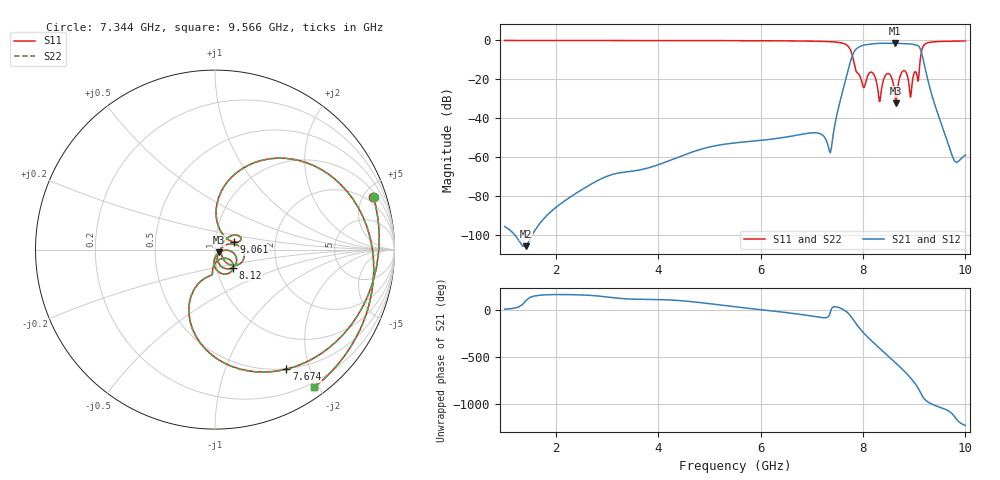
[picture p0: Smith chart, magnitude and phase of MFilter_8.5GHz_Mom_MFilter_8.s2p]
# MHz S MA R 50
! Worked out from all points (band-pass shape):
!   461 points, 1 GHz to 10 GHz, reference 50 ohm
!   highest |S21| = -1.43 dB at 8.617 GHz (marker M1); lowest = -105.8 dB at 1.422 GHz (marker M2)
!   |S21| within 3 dB of the highest: 7.867 GHz to 9.121 GHz (1.254 GHz wide, 14.8 % of centre)
!   lowest |S11| = -32.3 dB at 8.641 GHz (marker M3), VSWR 1.05, Z = 52 - j1.45 ohm
!   |S11| at or under -10 dB: 7.812 GHz to 9.117 GHz (1.305 GHz wide, 15.4 % of centre)
!   |S22| runs from -33.2 to 0.0 dB; largest |S21 - S12| = 0
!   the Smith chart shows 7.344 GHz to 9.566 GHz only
!   S11 on the Smith chart (normalised r, x): 7.344 GHz: 1.33, +5.86; 7.674 GHz: 0.49, -1.65; 8.12 GHz: 1.20, -0.24; 9.061 GHz: 1.23, +0.11; 9.566 GHz: 0.13, -1.95
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1000  0.9985 -35.6  1.65e-05 12.0  1.65e-05 12.0  0.9985 -35.6
1421.875  0.9981 -50.5  5.117e-06 105.9  5.117e-06 105.9  0.9981 -50.5
2546.875  0.9965 -89.1  0.0001563 162.3  0.0001563 162.3  0.9965 -89.1
4093.75  0.9933 -141.4  0.0007033 112.9  0.0007033 112.9  0.9933 -141.4
5500  0.9865 164.8  0.002317 36.8  0.002317 36.8  0.9866 164.7
7011.719  0.9577 62.8  0.004214 -62.5  0.004214 -62.5  0.9578 62.8
7343.75  0.9307 18.5  0.001423 -50.7  0.001423 -50.7  0.9307 18.3
7673.828  0.7754 -59.2  0.1143 -13.3  0.1143 -13.3  0.7753 -59.4
7828.125  0.2529 -117.6  0.5125 -114.2  0.5125 -114.2  0.2533 -117.8
7935.547  0.1244 -96.2  0.6936 167.2  0.6936 167.2  0.1243 -96.9
8120.009  0.1425 -44.6  0.7966 59.7  0.7966 59.7  0.1423 -44.6
8277.344  0.06961 -94.4  0.8368 -20.8  0.8368 -20.8  0.06968 -94.4
8326.172  0.0268 -45.7  0.8432 -45.3  0.8432 -45.3  0.02723 -45.9
8500  0.1404 -43.7  0.8429 -130.5  0.8429 -130.5  0.1404 -44.6
8617.188  0.04539 -72.8  0.8486 171.3  0.8486 171.3  0.04436 -75.9
8640.625  0.02429 -35.1  0.8479 159.3  0.8479 159.3  0.02186 -36.9
8777.127  0.1629 -7.5  0.8263 88.1  0.8263 88.1  0.1626 -7.0
8907.335  0.05782 -45.4  0.8172 14.1  0.8172 14.1  0.05765 -45.4
9061.053  0.1122 22.1  0.7459 -94.4  0.7459 -94.4  0.1127 22.6
9179.688  0.7193 40.8  0.3055 150.3  0.3055 150.3  0.7195 40.8
9565.972  0.9456 -54.2  0.005238 35.1  0.005238 35.1  0.9456 -54.3
10000  0.9664 -92.3  0.001129 -145.5  0.001129 -145.5  0.9665 -92.4
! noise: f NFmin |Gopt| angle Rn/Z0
1000  45.04  0.9985  35.63  9.792e+06
5992  22.84  0.9812  -140.6  577.7
7598  15.3  0.8532  34.21  97.65
7778  6.436  0.5363  96.84  1.699
7984  2.587  0.1231  60.75  0.364
8261  1.534  0.074  56.37  0.1972
8609  1.404  0.06913  30.53  0.1857
8931  1.775  0.1029  -0.2755  0.2582
9149  3.955  0.5317  -46.41  1.464
1e+04  35.33  0.9664  92.33  2.4e+04
